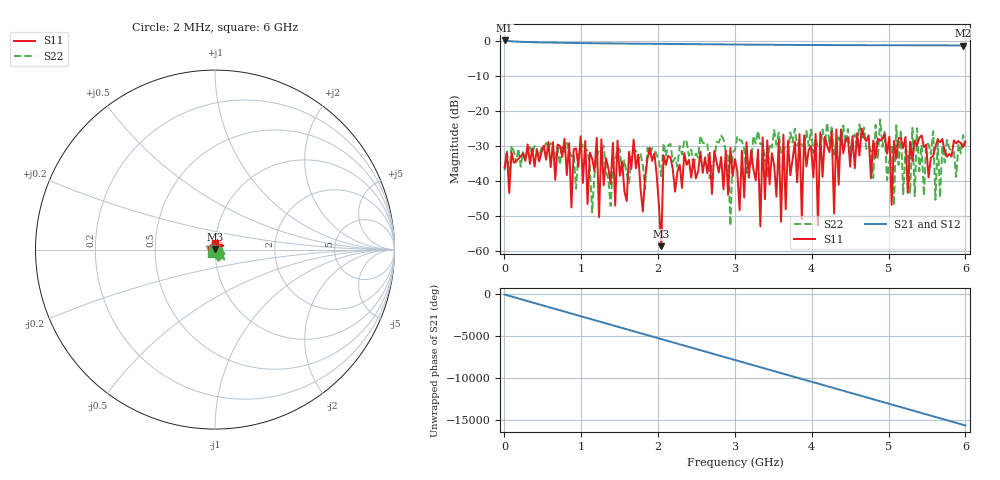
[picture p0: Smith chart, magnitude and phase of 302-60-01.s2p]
!Agilent N9923A: A.07.32
!Date: Tuesday, 12 January 2016 00:57:21
!Model: N9923A
!Serial: MY52412257
!GPS Latitude:
!GPS Longitude:
!GPS TimeStamp: 0001-01-01 00:00:00Z
!GPS Seconds Since Last Read: 0
!CHECKSUM:0939941957
!Correction: S11(ON Q)S21(ON Q)S12(ON Q)S22(ON Q)
!S2P File: Measurements:S11,S21,S12,S22:
# Hz S DB R 50
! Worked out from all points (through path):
!   201 points, 2 MHz to 6 GHz, reference 50 ohm
!   highest |S21| = 0.08 dB at 2 MHz (marker M1); lowest = -1.4 dB at 5.97 GHz (marker M2)
!   lowest |S11| = -58.6 dB at 2.041 GHz (marker M3), VSWR 1.00, Z = 50.1 + j0.0993 ohm
!   |S11| at or under -10 dB: start of sweep to end of sweep
!   |S22| runs from -52.7 to -22.5 dB; largest |S21 - S12| = 0.045
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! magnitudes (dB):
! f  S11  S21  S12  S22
! 2 MHz  -36.1  0.1  0.1  -37.0
! 1.022 GHz  -40.5  -0.7  -0.7  -29.2
! 1.142 GHz  -33.6  -0.7  -0.7  -48.9
! 2.011 GHz  -47.0  -0.9  -0.9  -34.4
! 2.041 GHz  -58.6  -0.9  -0.9  -38.6
! 2.071 GHz  -32.7  -0.9  -0.9  -29.2
! 2.821 GHz  -33.1  -1.0  -1.1  -27.0
! 2.941 GHz  -30.6  -1.1  -1.1  -52.7
! 3.001 GHz  -33.7  -1.1  -1.1  -31.1
! 3.301 GHz  -31.1  -1.1  -1.1  -25.7
! 3.331 GHz  -52.9  -1.1  -1.1  -29.5
! 3.361 GHz  -27.5  -1.1  -1.2  -29.2
! 4.021 GHz  -39.0  -1.2  -1.2  -32.0
! 5.01 GHz  -27.3  -1.3  -1.3  -34.4
! 5.04 GHz  -46.8  -1.3  -1.3  -29.6
! 5.07 GHz  -28.5  -1.3  -1.3  -47.0
! 5.1 GHz  -33.5  -1.3  -1.3  -24.1
! 5.34 GHz  -28.4  -1.3  -1.3  -44.3
! 5.58 GHz  -32.8  -1.3  -1.3  -25.8
! 5.61 GHz  -30.1  -1.3  -1.3  -45.3
! 5.97 GHz  -30.3  -1.4  -1.4  -26.9
! 6 GHz  -28.7  -1.3  -1.3  -30.0
